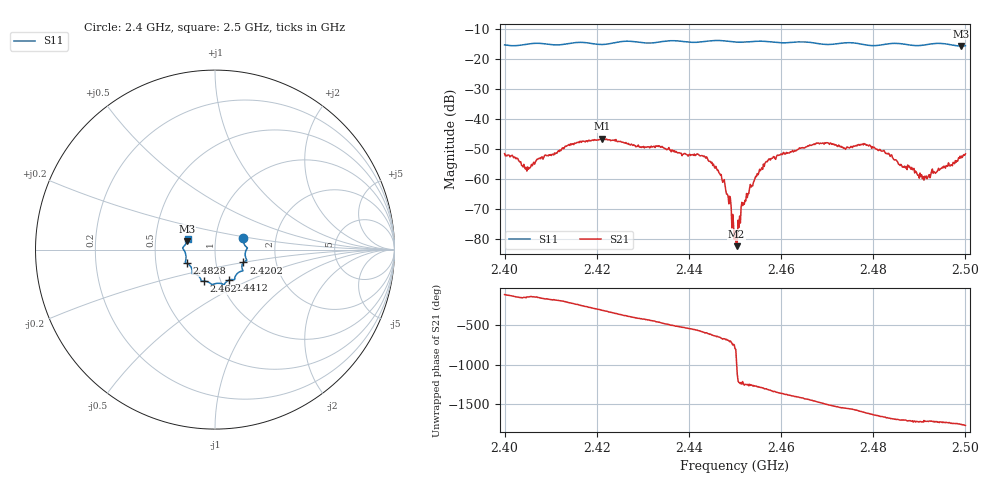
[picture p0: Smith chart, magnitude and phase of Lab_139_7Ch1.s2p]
# Hz S RI R 50
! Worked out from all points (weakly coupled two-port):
!   601 points, 2.4 GHz to 2.5 GHz, reference 50 ohm
!   highest |S21| = -46.59 dB at 2.4212 GHz (marker M1); lowest = -82.3 dB at 2.4503 GHz (marker M2)
!   lowest |S11| = -15.8 dB at 2.499 GHz (marker M3), VSWR 1.39, Z = 36.4 + j3.54 ohm
!   |S11| at or under -10 dB: start of sweep to end of sweep
!   S12 and S22 are empty: the file has one direction only
!   S11 on the Smith chart (normalised r, x): 2.4 GHz: 1.36, +0.17; 2.4202 GHz: 1.36, -0.20; 2.4412 GHz: 1.09, -0.39; 2.462 GHz: 0.84, -0.30; 2.4828 GHz: 0.72, -0.11; 2.5 GHz: 0.73, +0.09
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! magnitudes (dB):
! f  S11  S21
! 2.4 GHz  -15.4  -51.5
! 2.405 GHz  -15.1  -55.9
! 2.4167 GHz  -14.6  -47.8
! 2.4202 GHz  -15.2  -47.0
! 2.4212 GHz  -15.3  -46.6
! 2.4333 GHz  -14.5  -49.2
! 2.4412 GHz  -14.6  -51.7
! 2.4437 GHz  -14.2  -53.0
! 2.4472 GHz  -14.0  -60.0
! 2.4487 GHz  -14.2  -68.2
! 2.45 GHz  -14.4  -77.2
! 2.4503 GHz  -14.5  -82.3
! 2.4518 GHz  -14.5  -67.9
! 2.4548 GHz  -14.2  -58.1
! 2.457 GHz  -14.3  -54.2
! 2.462 GHz  -14.6  -50.9
! 2.4667 GHz  -14.6  -48.7
! 2.4828 GHz  -15.1  -51.5
! 2.4833 GHz  -15.0  -51.4
! 2.4912 GHz  -15.4  -59.0
! 2.499 GHz  -15.8  -53.0
! 2.5 GHz  -15.7  -51.6
